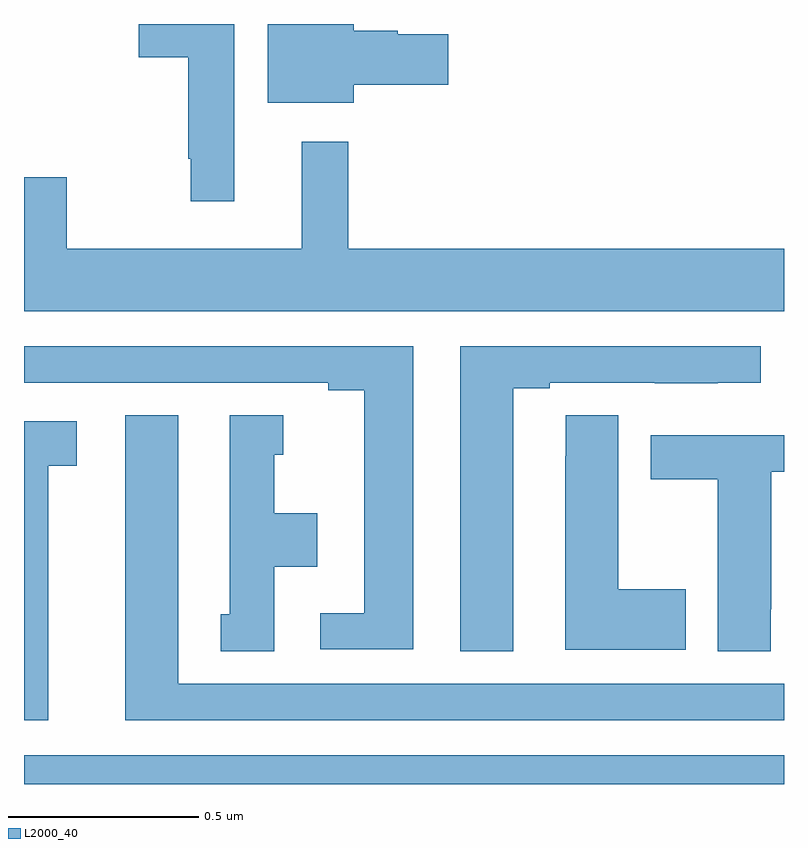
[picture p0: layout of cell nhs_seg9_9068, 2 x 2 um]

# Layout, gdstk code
import gdstk
lib = gdstk.Library(unit=1e-6, precision=1e-09)
def R(c, l, rs):  # rectangles x0, y0, x1, y1
    for r in rs: c.add(gdstk.rectangle(r[:2], r[2:], *l))
def P(c, l, *ps):  # polygons
    for p in ps: c.add(gdstk.Polygon(p, *l))
L2000_40 = (2000, 40)

nhs_seg9_9068 = lib.new_cell('nhs_seg9_9068')
R(nhs_seg9_9068, L2000_40, [(225,1204.5,227,1204.576)])
P(nhs_seg9_9068, L2000_40, [(225.553,1206.5),(225.302,1206.5),(225.302,1206.413),(225.432,1206.413),(225.432,1206.145),(225.439,1206.145),(225.439,1206.033),(225.553,1206.033)],
  [(225.868,1206.34),(226.117,1206.34),(226.117,1206.473),(225.984,1206.473),(225.984,1206.482),(225.868,1206.482),(225.868,1206.5),(225.641,1206.5),(225.641,1206.293),(225.868,1206.293)],
  [(227,1205.908),(225.853,1205.908),(225.853,1206.19),(225.731,1206.19),(225.731,1205.908),(225.112,1205.908),(225.112,1206.097),(225,1206.097),(225,1205.744),(227,1205.744)],
  [(226.024,1205.652),(225,1205.652),(225,1205.556),(225.8,1205.556),(225.8,1205.536),(225.896,1205.536),(225.896,1204.95),(225.78,1204.95),(225.78,1204.854),(226.024,1204.854)],
  [(226.288,1205.541),(226.384,1205.541),(226.384,1205.556),(226.66,1205.556),(226.66,1205.555),(226.826,1205.555),(226.826,1205.556),(226.939,1205.556),(226.939,1205.652),(226.148,1205.652),(226.148,1204.849),(226.288,1204.849)],
  [(226.741,1205.013),(226.564,1205.013),(226.564,1205.471),(226.425,1205.471),(226.425,1205.363),(226.424,1205.363),(226.424,1204.853),(226.741,1204.853)],
  [(227,1204.764),(225.406,1204.764),(225.406,1205.47),(225.266,1205.47),(225.266,1204.668),(227,1204.668)],
  [(225.658,1205.072),(225.772,1205.072),(225.772,1205.212),(225.658,1205.212),(225.658,1205.367),(225.682,1205.367),(225.682,1205.47),(225.542,1205.47),(225.542,1204.947),(225.518,1204.947),(225.518,1204.849),(225.658,1204.849)],
  [(225.064,1205.338),(225.139,1205.338),(225.139,1205.454),(225,1205.454),(225,1204.668),(225.064,1204.668)],
  [(226.965,1204.96),(226.966,1204.96),(226.966,1205.322),(227,1205.322),(227,1205.418),(226.649,1205.418),(226.649,1205.302),(226.826,1205.302),(226.826,1204.849),(226.965,1204.849)])

lib.write_gds('nhs_seg9_9068.gds')
